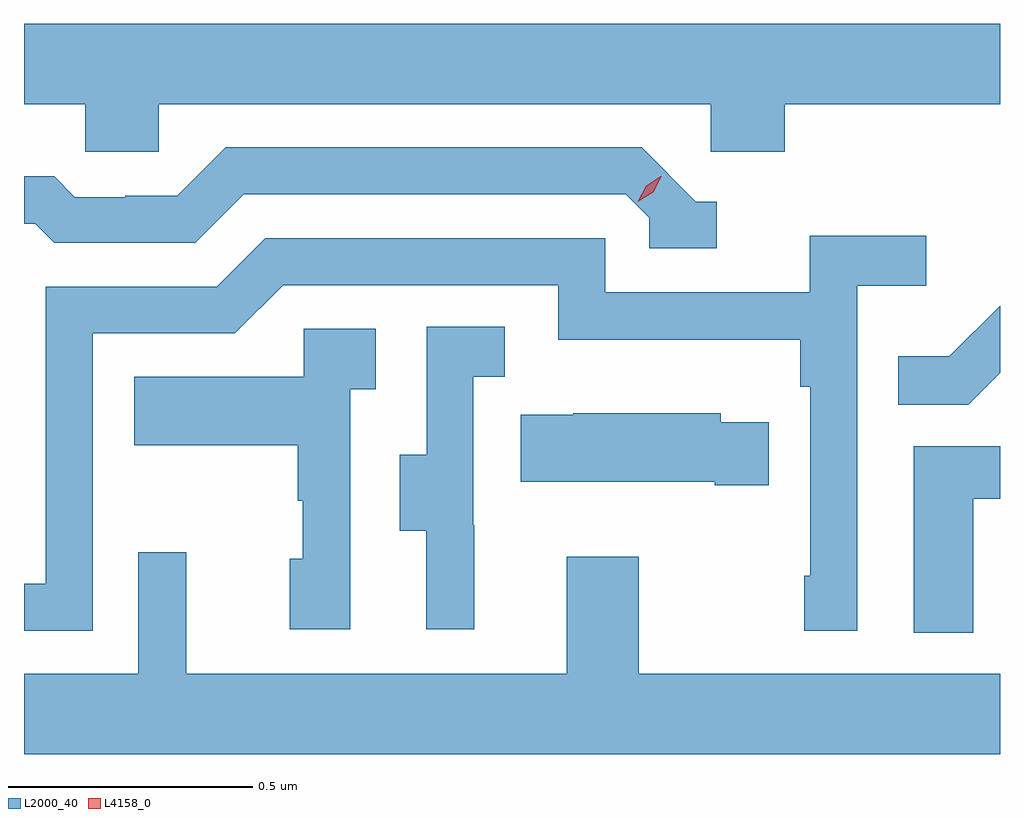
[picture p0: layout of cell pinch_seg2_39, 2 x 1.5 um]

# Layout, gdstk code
import gdstk
lib = gdstk.Library(unit=1e-6, precision=1e-09)
def P(c, l, *ps):  # polygons
    for p in ps: c.add(gdstk.Polygon(p, *l))
L2000_40 = (2000, 40)
L4158_0 = (4158, 0)

pinch_seg2_39 = lib.new_cell('pinch_seg2_39')
P(pinch_seg2_39, L2000_40, [(1118.193,650.3),(1119.324,650.3),(1119.324,650.202),(1119.476,650.202),(1119.476,650.3),(1119.917,650.3),(1119.917,650.464),(1117.917,650.464),(1117.917,650.3),(1118.043,650.3),(1118.043,650.202),(1118.193,650.202)],
  [(1119.337,650.1),(1119.294,650.1),(1119.183,650.211),(1118.33,650.211),(1118.231,650.112),(1118.124,650.112),(1118.124,650.109),(1118.021,650.109),(1117.979,650.152),(1117.917,650.152),(1117.917,650.055),(1117.94,650.055),(1117.979,650.016),(1118.268,650.016),(1118.367,650.115),(1119.15,650.115),(1119.198,650.067),(1119.198,650.004),(1119.337,650.004)],
  [(1118.058,649.83),(1118.349,649.83),(1118.448,649.929),(1119.012,649.929),(1119.012,649.817),(1119.508,649.817),(1119.508,649.721),(1119.528,649.721),(1119.528,649.333),(1119.516,649.333),(1119.516,649.221),(1119.624,649.221),(1119.624,649.928),(1119.766,649.928),(1119.766,650.03),(1119.527,650.03),(1119.527,649.914),(1119.108,649.914),(1119.108,650.025),(1118.411,650.025),(1118.312,649.926),(1117.962,649.926),(1117.962,649.317),(1117.917,649.317),(1117.917,649.221),(1118.058,649.221)],
  [(1119.917,649.749),(1119.917,649.887),(1119.813,649.783),(1119.709,649.783),(1119.709,649.684),(1119.852,649.684)],
  [(1118.84,649.437),(1118.838,649.437),(1118.838,649.741),(1118.902,649.741),(1118.902,649.844),(1118.742,649.844),(1118.742,649.581),(1118.687,649.581),(1118.687,649.426),(1118.741,649.426),(1118.741,649.224),(1118.84,649.224)],
  [(1118.586,649.715),(1118.638,649.715),(1118.638,649.839),(1118.49,649.839),(1118.49,649.741),(1118.143,649.741),(1118.143,649.601),(1118.478,649.601),(1118.478,649.487),(1118.488,649.487),(1118.488,649.368),(1118.462,649.368),(1118.462,649.224),(1118.586,649.224)],
  [(1119.443,649.648),(1119.345,649.648),(1119.345,649.666),(1119.043,649.666),(1119.043,649.663),(1118.935,649.663),(1118.935,649.526),(1119.332,649.526),(1119.332,649.519),(1119.443,649.519)],
  [(1119.862,649.491),(1119.917,649.491),(1119.917,649.599),(1119.74,649.599),(1119.74,649.217),(1119.862,649.217)],
  [(1119.917,649.132),(1119.177,649.132),(1119.177,649.372),(1119.029,649.372),(1119.029,649.132),(1118.249,649.132),(1118.249,649.381),(1118.151,649.381),(1118.151,649.132),(1117.917,649.132),(1117.917,648.968),(1119.917,648.968)])
P(pinch_seg2_39, L4158_0, [(1119.175,650.1),(1119.175,650.1),(1119.192,650.133),(1119.222,650.152),(1119.223,650.152),(1119.223,650.151),(1119.206,650.119),(1119.175,650.1)])

lib.write_gds('pinch_seg2_39.gds')
